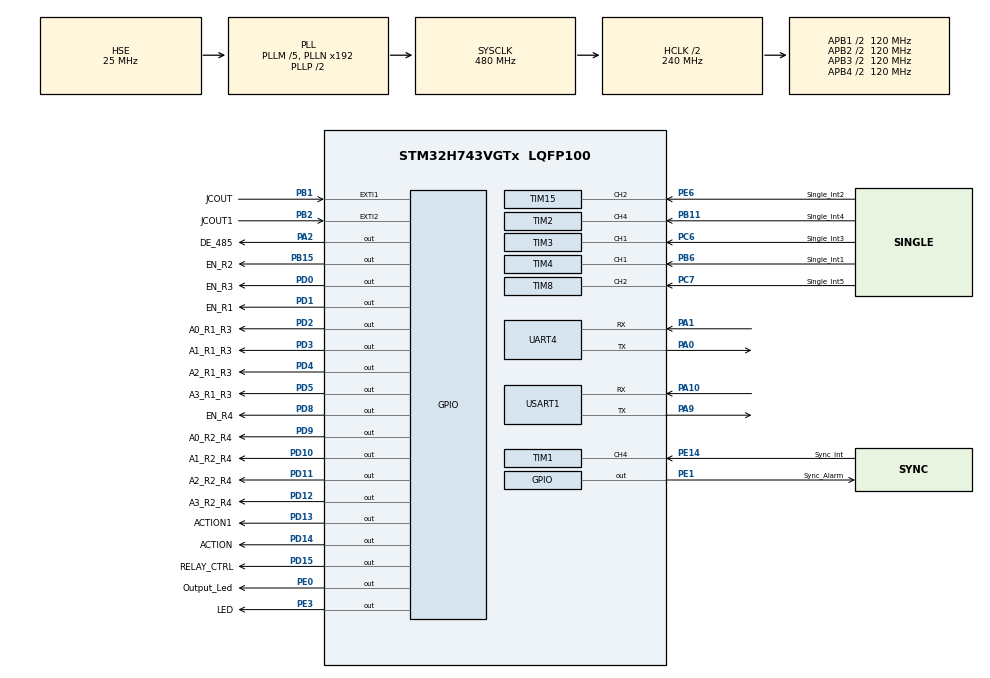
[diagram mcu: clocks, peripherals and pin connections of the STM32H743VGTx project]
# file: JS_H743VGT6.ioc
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CORTEX_M7.default_mode_Activation=1
FREERTOS.CountingSemaphores01=HolesCountingSem,16,Dynamic,NULL,0
FREERTOS.Events01=PositionEvent1_MPC1,Dynamic,NULL;PositionEvent2_MPC1,Dynamic,NULL;PositionEvent3_MPC1,Dynamic,NULL;PositionEvent4_MPC1,Dynamic,NULL;PositionEvent1_MPC2,Dynamic,NULL;PositionEvent2_MPC2,Dynamic,NULL;PositionEvent3_MPC2,Dynamic,NULL;PositionEvent4_MPC2,Dynamic,NULL
FREERTOS.Tasks01=SyncTask,24,128,StartSyncTask,Default,NULL,Dynamic,NULL,NULL;ICTask,25,128,StartICTask,Default,NULL,Dynamic,NULL,NULL;Rec_SwitchTask,25,128,StartRec_SwitchTask,Default,NULL,Dynamic,NULL,NULL;AlarmTask,26,128,StartAlarmTask,Default,NULL,Dynamic,NULL,NULL;Hole_ldentifica,27,128,StartHole_ldentificationTask,Default,NULL,Dynamic,NULL,NULL
Mcu.Family=STM32H7
Mcu.Name=STM32H743VGTx
Mcu.Package=LQFP100
NVIC.EXTI1_IRQn=true\:5\:0\:false\:false\:true\:true\:true\:true\:true
NVIC.EXTI2_IRQn=true\:5\:0\:false\:false\:true\:true\:true\:true\:true
NVIC.PriorityGroup=NVIC_PRIORITYGROUP_4
NVIC.TIM15_IRQn=true\:5\:0\:false\:false\:true\:true\:true\:true\:true
NVIC.TIM17_IRQn=true\:15\:0\:false\:false\:true\:false\:false\:true\:true
NVIC.TIM1_CC_IRQn=true\:5\:0\:false\:false\:true\:true\:true\:true\:true
NVIC.TIM1_UP_IRQn=true\:5\:0\:false\:false\:true\:true\:true\:true\:true
NVIC.TIM2_IRQn=true\:5\:0\:false\:false\:true\:true\:true\:true\:true
NVIC.TIM3_IRQn=true\:5\:0\:false\:false\:true\:true\:true\:true\:true
NVIC.TIM4_IRQn=true\:5\:0\:false\:false\:true\:true\:true\:true\:true
NVIC.TIM6_DAC_IRQn=true\:5\:0\:false\:false\:true\:true\:true\:true\:true
NVIC.TIM7_IRQn=true\:5\:0\:false\:false\:true\:true\:true\:true\:true
NVIC.TIM8_CC_IRQn=true\:5\:0\:false\:false\:true\:true\:true\:true\:true
NVIC.TIM8_UP_TIM13_IRQn=true\:5\:0\:false\:false\:true\:true\:true\:true\:true
NVIC.TimeBase=TIM17_IRQn
NVIC.TimeBaseIP=TIM17
NVIC.UART4_IRQn=true\:5\:0\:false\:false\:true\:true\:true\:true\:true
NVIC.USART1_IRQn=true\:5\:0\:false\:false\:true\:true\:true\:true\:true
PA0.Mode=Asynchronous
PA0.Signal=UART4_TX
PA1.Mode=Asynchronous
PA1.Signal=UART4_RX
PA10.Mode=Asynchronous
PA10.Signal=USART1_RX
PA13\ (JTMS/SWDIO).Mode=Serial_Wire
PA13\ (JTMS/SWDIO).Signal=DEBUG_JTMS-SWDIO
PA14\ (JTCK/SWCLK).Mode=Serial_Wire
PA14\ (JTCK/SWCLK).Signal=DEBUG_JTCK-SWCLK
PA2.GPIO_Label=DE_485
PA2.GPIO_Speed=GPIO_SPEED_FREQ_HIGH
PA2.Signal=GPIO_Output
PA9.Mode=Asynchronous
PA9.Signal=USART1_TX
PB1.GPIO_Label=JCOUT
PB1.Signal=GPXTI1
PB11.GPIO_Label=Single_Int4
PB11.GPIO_Speed=GPIO_SPEED_FREQ_HIGH
PB11.Signal=S_TIM2_CH4
PB15.GPIO_Label=EN_R2
PB15.GPIO_ModeDefaultOutputPP=GPIO_MODE_OUTPUT_OD
PB15.GPIO_PuPd=GPIO_NOPULL
PB15.GPIO_Speed=GPIO_SPEED_FREQ_HIGH
PB15.Signal=GPIO_Output
PB2.GPIO_Label=JCOUT1
PB2.Signal=GPXTI2
PB6.GPIO_Label=Single_Int1
PB6.GPIO_Speed=GPIO_SPEED_FREQ_HIGH
PB6.Signal=S_TIM4_CH1
PC6.GPIO_Label=Single_Int3
PC6.GPIO_Speed=GPIO_SPEED_FREQ_HIGH
PC6.Signal=S_TIM3_CH1
PC7.GPIO_Label=Single_Int5
PC7.GPIO_Speed=GPIO_SPEED_FREQ_HIGH
PC7.Signal=S_TIM8_CH2
PD0.GPIO_Label=EN_R3
PD0.GPIO_ModeDefaultOutputPP=GPIO_MODE_OUTPUT_OD
PD0.GPIO_PuPd=GPIO_NOPULL
PD0.GPIO_Speed=GPIO_SPEED_FREQ_HIGH
PD0.Signal=GPIO_Output
PD1.GPIO_Label=EN_R1
PD1.GPIO_ModeDefaultOutputPP=GPIO_MODE_OUTPUT_OD
PD1.GPIO_PuPd=GPIO_NOPULL
PD1.GPIO_Speed=GPIO_SPEED_FREQ_HIGH
PD1.PinState=GPIO_PIN_SET
PD1.Signal=GPIO_Output
PD10.GPIO_Label=A1_R2_R4
PD10.GPIO_ModeDefaultOutputPP=GPIO_MODE_OUTPUT_OD
PD10.GPIO_PuPd=GPIO_NOPULL
PD10.GPIO_Speed=GPIO_SPEED_FREQ_HIGH
PD10.PinState=GPIO_PIN_SET
PD10.Signal=GPIO_Output
PD11.GPIO_Label=A2_R2_R4
PD11.GPIO_ModeDefaultOutputPP=GPIO_MODE_OUTPUT_OD
PD11.GPIO_PuPd=GPIO_NOPULL
PD11.GPIO_Speed=GPIO_SPEED_FREQ_HIGH
PD11.PinState=GPIO_PIN_SET
PD11.Signal=GPIO_Output
PD12.GPIO_Label=A3_R2_R4
PD12.GPIO_ModeDefaultOutputPP=GPIO_MODE_OUTPUT_OD
PD12.GPIO_PuPd=GPIO_NOPULL
PD12.GPIO_Speed=GPIO_SPEED_FREQ_HIGH
PD12.PinState=GPIO_PIN_SET
PD12.Signal=GPIO_Output
PD13.GPIO_Label=ACTION1
PD13.GPIO_ModeDefaultOutputPP=GPIO_MODE_OUTPUT_OD
PD13.GPIO_PuPd=GPIO_NOPULL
PD13.GPIO_Speed=GPIO_SPEED_FREQ_HIGH
PD13.PinState=GPIO_PIN_SET
PD13.Signal=GPIO_Output
PD14.GPIO_Label=ACTION
PD14.GPIO_ModeDefaultOutputPP=GPIO_MODE_OUTPUT_OD
PD14.GPIO_PuPd=GPIO_NOPULL
PD14.GPIO_Speed=GPIO_SPEED_FREQ_HIGH
PD14.PinState=GPIO_PIN_SET
PD14.Signal=GPIO_Output
PD15.GPIO_Label=RELAY_CTRL
PD15.GPIO_ModeDefaultOutputPP=GPIO_MODE_OUTPUT_OD
PD15.GPIO_PuPd=GPIO_NOPULL
PD15.GPIO_Speed=GPIO_SPEED_FREQ_HIGH
PD15.PinState=GPIO_PIN_SET
PD15.Signal=GPIO_Output
PD2.GPIO_Label=A0_R1_R3
PD2.GPIO_ModeDefaultOutputPP=GPIO_MODE_OUTPUT_OD
PD2.GPIO_PuPd=GPIO_NOPULL
PD2.GPIO_Speed=GPIO_SPEED_FREQ_HIGH
PD2.PinState=GPIO_PIN_SET
PD2.Signal=GPIO_Output
PD3.GPIO_Label=A1_R1_R3
PD3.GPIO_ModeDefaultOutputPP=GPIO_MODE_OUTPUT_OD
PD3.GPIO_PuPd=GPIO_NOPULL
PD3.GPIO_Speed=GPIO_SPEED_FREQ_HIGH
PD3.PinState=GPIO_PIN_SET
PD3.Signal=GPIO_Output
PD4.GPIO_Label=A2_R1_R3
PD4.GPIO_ModeDefaultOutputPP=GPIO_MODE_OUTPUT_OD
PD4.GPIO_PuPd=GPIO_NOPULL
PD4.GPIO_Speed=GPIO_SPEED_FREQ_HIGH
PD4.PinState=GPIO_PIN_SET
PD4.Signal=GPIO_Output
PD5.GPIO_Label=A3_R1_R3
PD5.GPIO_ModeDefaultOutputPP=GPIO_MODE_OUTPUT_OD
PD5.GPIO_PuPd=GPIO_NOPULL
PD5.GPIO_Speed=GPIO_SPEED_FREQ_HIGH
PD5.PinState=GPIO_PIN_SET
PD5.Signal=GPIO_Output
PD8.GPIO_Label=EN_R4
PD8.GPIO_ModeDefaultOutputPP=GPIO_MODE_OUTPUT_OD
PD8.GPIO_PuPd=GPIO_NOPULL
PD8.GPIO_Speed=GPIO_SPEED_FREQ_HIGH
PD8.PinState=GPIO_PIN_SET
PD8.Signal=GPIO_Output
PD9.GPIO_Label=A0_R2_R4
PD9.GPIO_ModeDefaultOutputPP=GPIO_MODE_OUTPUT_OD
PD9.GPIO_PuPd=GPIO_NOPULL
PD9.GPIO_Speed=GPIO_SPEED_FREQ_HIGH
PD9.PinState=GPIO_PIN_SET
PD9.Signal=GPIO_Output
PE0.GPIO_Label=Output_Led
PE0.GPIO_ModeDefaultOutputPP=GPIO_MODE_OUTPUT_OD
PE0.GPIO_PuPd=GPIO_NOPULL
PE0.GPIO_Speed=GPIO_SPEED_FREQ_HIGH
PE0.PinState=GPIO_PIN_SET
PE0.Signal=GPIO_Output
PE1.GPIO_Label=Sync_Alarm
PE1.GPIO_ModeDefaultOutputPP=GPIO_MODE_OUTPUT_OD
PE1.GPIO_PuPd=GPIO_NOPULL
PE1.GPIO_Speed=GPIO_SPEED_FREQ_HIGH
PE1.PinState=GPIO_PIN_SET
PE1.Signal=GPIO_Output
PE14.GPIO_Label=Sync_Int
PE14.GPIO_Speed=GPIO_SPEED_FREQ_HIGH
PE14.Signal=S_TIM1_CH4
PE3.GPIO_Label=LED
PE3.GPIO_Speed=GPIO_SPEED_FREQ_HIGH
PE3.Signal=GPIO_Output
PE6.GPIO_Label=Single_Int2
PE6.GPIO_Speed=GPIO_SPEED_FREQ_HIGH
PE6.Signal=S_TIM15_CH2
PH0-OSC_IN\ (PH0).Mode=HSE-External-Oscillator
PH0-OSC_IN\ (PH0).Signal=RCC_OSC_IN
PH1-OSC_OUT\ (PH1).Mode=HSE-External-Oscillator
PH1-OSC_OUT\ (PH1).Signal=RCC_OSC_OUT
ProjectManager.HeapSize=0x200
ProjectManager.StackSize=0x400
ProjectManager.TargetToolchain=MDK-ARM V5.32
RCC.ADCFreq_Value=50390625
RCC.APB1Freq_Value=120000000
RCC.APB2Freq_Value=120000000
RCC.APB3Freq_Value=120000000
RCC.APB4Freq_Value=120000000
RCC.CortexFreq_Value=480000000
RCC.D1PPRE=RCC_APB3_DIV2
RCC.D2PPRE1=RCC_APB1_DIV2
RCC.D2PPRE2=RCC_APB2_DIV2
RCC.D3PPRE=RCC_APB4_DIV2
RCC.DIVM1=5
RCC.DIVN1=192
RCC.HCLKFreq_Value=240000000
RCC.HPRE=RCC_HCLK_DIV2
RCC.PLL2FRACN=0
RCC.PLL3FRACN=0
RCC.PLLFRACN=0
RCC.PLLSourceVirtual=RCC_PLLSOURCE_HSE
RCC.SYSCLKFreq_VALUE=480000000
RCC.SYSCLKSource=RCC_SYSCLKSOURCE_PLLCLK
RCC.USBFreq_Value=480000000
SH.S_TIM15_CH2.0=TIM15_CH2,Input_Capture2_from_TI2
SH.S_TIM1_CH4.0=TIM1_CH4,Input_Capture4_from_TI4
SH.S_TIM2_CH4.0=TIM2_CH4,Input_Capture4_from_TI4
SH.S_TIM3_CH1.0=TIM3_CH1,Input_Capture1_from_TI1
SH.S_TIM4_CH1.0=TIM4_CH1,Input_Capture1_from_TI1
SH.S_TIM8_CH2.0=TIM8_CH2,Input_Capture2_from_TI2
TIM1.AutoReloadPreload=TIM_AUTORELOAD_PRELOAD_ENABLE
TIM1.Channel-Input_Capture4_from_TI4=TIM_CHANNEL_4
TIM1.Period=50000-1
TIM1.Prescaler=240-1
TIM15.AutoReloadPreload=TIM_AUTORELOAD_PRELOAD_ENABLE
TIM15.Channel-Input_Capture2_from_TI2=TIM_CHANNEL_2
TIM15.ICPolarity_CH2=TIM_INPUTCHANNELPOLARITY_FALLING
TIM15.Period=50000-1
TIM15.Prescaler=240-1
TIM2.AutoReloadPreload=TIM_AUTORELOAD_PRELOAD_ENABLE
TIM2.Channel-Input_Capture4_from_TI4=TIM_CHANNEL_4
TIM2.Period=50000-1
TIM2.Prescaler=240-1
TIM3.AutoReloadPreload=TIM_AUTORELOAD_PRELOAD_ENABLE
TIM3.Channel-Input_Capture1_from_TI1=TIM_CHANNEL_1
TIM3.Period=50000-1
TIM3.Prescaler=240-1
TIM4.AutoReloadPreload=TIM_AUTORELOAD_PRELOAD_ENABLE
TIM4.Channel-Input_Capture1_from_TI1=TIM_CHANNEL_1
TIM4.Period=50000-1
TIM4.Prescaler=240-1
TIM6.AutoReloadPreload=TIM_AUTORELOAD_PRELOAD_ENABLE
TIM6.Period=10-1
TIM6.Prescaler=240-1
TIM7.AutoReloadPreload=TIM_AUTORELOAD_PRELOAD_ENABLE
TIM7.Period=500-1
TIM7.Prescaler=240-1
TIM8.AutoReloadPreload=TIM_AUTORELOAD_PRELOAD_ENABLE
TIM8.Channel-Input_Capture2_from_TI2=TIM_CHANNEL_2
TIM8.Period=50000-1
TIM8.Prescaler=240-1
USART1.VirtualMode-Asynchronous=VM_ASYNC
VP_FREERTOS_VS_CMSIS_V2.Mode=CMSIS_V2
VP_MEMORYMAP_VS_MEMORYMAP.Mode=CurAppReg
VP_SYS_VS_tim17.Mode=TIM17
VP_TIM15_VS_ClockSourceINT.Mode=Internal
VP_TIM2_VS_ClockSourceINT.Mode=Internal
VP_TIM3_VS_ClockSourceINT.Mode=Internal
VP_TIM4_VS_ClockSourceINT.Mode=Internal
VP_TIM6_VS_ClockSourceINT.Mode=Enable_Timer
VP_TIM7_VS_ClockSourceINT.Mode=Enable_Timer
VP_TIM8_VS_ClockSourceINT.Mode=Internal
board=custom

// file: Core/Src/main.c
/* USER CODE BEGIN Header */
/**
  ******************************************************************************
  * @file           : main.c
  * @brief          : Main program body
  ******************************************************************************
  * @attention
  *
  * Copyright (c) 2024 STMicroelectronics.
  * All rights reserved.
  *
  * This software is licensed under terms that can be found in the LICENSE file
  * in the root directory of this software component.
  * If no LICENSE file comes with this software, it is provided AS-IS.
  *
  ******************************************************************************
  */
/* USER CODE END Header */
#include "main.h"
#include "cmsis_os.h"
#include "memorymap.h"
#include "tim.h"
#include "usart.h"
#include "gpio.h"

void SystemClock_Config(void);
static void MPU_Config(void);
void MX_FREERTOS_Init(void);

int main(void)
{

  /* MPU Configuration--------------------------------------------------------*/
  MPU_Config();

  /* MCU Configuration--------------------------------------------------------*/

  /* Reset of all peripherals, Initializes the Flash interface and the Systick. */
  HAL_Init();

  /* Configure the system clock */
  SystemClock_Config();

  /* Initialize all configured peripherals */
  MX_GPIO_Init();
  MX_TIM2_Init();
  MX_TIM3_Init();
  MX_TIM4_Init();
  MX_TIM8_Init();
  MX_TIM15_Init();
  MX_TIM1_Init();
  MX_UART4_Init();
  MX_TIM6_Init();
  MX_USART1_UART_Init();
  MX_TIM7_Init();

  /* Init scheduler */
  osKernelInitialize();

  /* Call init function for freertos objects (in cmsis_os2.c) */
  MX_FREERTOS_Init();

  /* Start scheduler */
  osKernelStart();

  /* We should never get here as control is now taken by the scheduler */

  /* Infinite loop */
  while (1)
  {

  }
}

void SystemClock_Config(void)
{
  RCC_OscInitTypeDef RCC_OscInitStruct = {0};
  RCC_ClkInitTypeDef RCC_ClkInitStruct = {0};

  /** Supply configuration update enable
  */
  HAL_PWREx_ConfigSupply(PWR_LDO_SUPPLY);

  /** Configure the main internal regulator output voltage
  */
  __HAL_PWR_VOLTAGESCALING_CONFIG(PWR_REGULATOR_VOLTAGE_SCALE1);

  while(!__HAL_PWR_GET_FLAG(PWR_FLAG_VOSRDY)) {}

  __HAL_RCC_SYSCFG_CLK_ENABLE();
  __HAL_PWR_VOLTAGESCALING_CONFIG(PWR_REGULATOR_VOLTAGE_SCALE0);

  while(!__HAL_PWR_GET_FLAG(PWR_FLAG_VOSRDY)) {}

  /** Initializes the RCC Oscillators according to the specified parameters
  * in the RCC_OscInitTypeDef structure.
  */
  RCC_OscInitStruct.OscillatorType = RCC_OSCILLATORTYPE_HSE;
  RCC_OscInitStruct.HSEState = RCC_HSE_ON;
  RCC_OscInitStruct.PLL.PLLState = RCC_PLL_ON;
  RCC_OscInitStruct.PLL.PLLSource = RCC_PLLSOURCE_HSE;
  RCC_OscInitStruct.PLL.PLLM = 5;
  RCC_OscInitStruct.PLL.PLLN = 192;
  RCC_OscInitStruct.PLL.PLLP = 2;
  RCC_OscInitStruct.PLL.PLLQ = 2;
  RCC_OscInitStruct.PLL.PLLR = 2;
  RCC_OscInitStruct.PLL.PLLRGE = RCC_PLL1VCIRANGE_2;
  RCC_OscInitStruct.PLL.PLLVCOSEL = RCC_PLL1VCOWIDE;
  RCC_OscInitStruct.PLL.PLLFRACN = 0;
  if (HAL_RCC_OscConfig(&RCC_OscInitStruct) != HAL_OK)
  {
    Error_Handler();
  }

  /** Initializes the CPU, AHB and APB buses clocks
  */
  RCC_ClkInitStruct.ClockType = RCC_CLOCKTYPE_HCLK|RCC_CLOCKTYPE_SYSCLK
                              |RCC_CLOCKTYPE_PCLK1|RCC_CLOCKTYPE_PCLK2
                              |RCC_CLOCKTYPE_D3PCLK1|RCC_CLOCKTYPE_D1PCLK1;
  RCC_ClkInitStruct.SYSCLKSource = RCC_SYSCLKSOURCE_PLLCLK;
  RCC_ClkInitStruct.SYSCLKDivider = RCC_SYSCLK_DIV1;
  RCC_ClkInitStruct.AHBCLKDivider = RCC_HCLK_DIV2;
  RCC_ClkInitStruct.APB3CLKDivider = RCC_APB3_DIV2;
  RCC_ClkInitStruct.APB1CLKDivider = RCC_APB1_DIV2;
  RCC_ClkInitStruct.APB2CLKDivider = RCC_APB2_DIV2;
  RCC_ClkInitStruct.APB4CLKDivider = RCC_APB4_DIV2;

  if (HAL_RCC_ClockConfig(&RCC_ClkInitStruct, FLASH_LATENCY_4) != HAL_OK)
  {
    Error_Handler();
  }
}

 /* MPU Configuration */

void MPU_Config(void)
{
  MPU_Region_InitTypeDef MPU_InitStruct = {0};

  /* Disables the MPU */
  HAL_MPU_Disable();

  /** Initializes and configures the Region and the memory to be protected
  */
  MPU_InitStruct.Enable = MPU_REGION_ENABLE;
  MPU_InitStruct.Number = MPU_REGION_NUMBER0;
  MPU_InitStruct.BaseAddress = 0x0;
  MPU_InitStruct.Size = MPU_REGION_SIZE_4GB;
  MPU_InitStruct.SubRegionDisable = 0x87;
  MPU_InitStruct.TypeExtField = MPU_TEX_LEVEL0;
  MPU_InitStruct.AccessPermission = MPU_REGION_NO_ACCESS;
  MPU_InitStruct.DisableExec = MPU_INSTRUCTION_ACCESS_DISABLE;
  MPU_InitStruct.IsShareable = MPU_ACCESS_SHAREABLE;
  MPU_InitStruct.IsCacheable = MPU_ACCESS_NOT_CACHEABLE;
  MPU_InitStruct.IsBufferable = MPU_ACCESS_NOT_BUFFERABLE;

  HAL_MPU_ConfigRegion(&MPU_InitStruct);
  /* Enables the MPU */
  HAL_MPU_Enable(MPU_PRIVILEGED_DEFAULT);

}

void HAL_TIM_PeriodElapsedCallback(TIM_HandleTypeDef *htim)
{
  if (htim->Instance == TIM17) {
    HAL_IncTick();
  }
}

void Error_Handler(void)
{
  __disable_irq();
  while (1)
  {
  }
}

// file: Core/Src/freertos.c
/* USER CODE BEGIN Header */
/**
 ******************************************************************************
 * File Name          : freertos.c
 * Description        : Code for freertos applications
 ******************************************************************************
 * @attention
 *
 * Copyright (c) 2024 STMicroelectronics.
 * All rights reserved.
 *
 * This software is licensed under terms that can be found in the LICENSE file
 * in the root directory of this software component.
 * If no LICENSE file comes with this software, it is provided AS-IS.
 *
 ******************************************************************************
 */
/* USER CODE END Header */

#include "FreeRTOS.h"
#include "task.h"
#include "main.h"
#include "cmsis_os.h"

/* USER CODE BEGIN Includes */
#include "tim.h"
#include "gpio.h"
#include "limits.h"
#include "usart.h"
#include "stdio.h"
#include "semphr.h"
#include "portmacro.h"
#include "event_groups.h"

extern uint32_t Sync_capture_Buf[2]; // 存放计数值
extern uint8_t Sync_Cnt;             // 状态标志位
extern uint32_t Sync_high_time;      // 高电平时间

uint16_t semavalue = 0;

uint8_t Isfirstcirculation = 1;

#if 0
// 事件组
int32_t position1_old = 0;
int32_t position1_new = 0;
int32_t position1_xor = 0;
uint32_t position1_new_plus_old = 0;

int32_t position2_old = 0;
int32_t position2_new = 0;
int32_t position2_xor = 0;
uint32_t position2_new_plus_old = 0;

int32_t position3_old = 0;
int32_t position3_new = 0;
int32_t position3_xor = 0;
uint32_t position3_new_plus_old = 0;

int32_t position4_old = 0;
int32_t position4_new = 0;
int32_t position4_xor = 0;
uint32_t position4_new_plus_old = 0;
#endif
int32_t position_old[4] = {0};
int32_t position_xor[4] = {0};

/* USER CODE END Includes */

/* Definitions for SyncTask */
osThreadId_t SyncTaskHandle;
const osThreadAttr_t SyncTask_attributes = {
    .name = "SyncTask",
    .stack_size = 128 * 4,
    .priority = (osPriority_t)osPriorityNormal,
};
/* Definitions for ICTask */
osThreadId_t ICTaskHandle;
const osThreadAttr_t ICTask_attributes = {
    .name = "ICTask",
    .stack_size = 128 * 4,
    .priority = (osPriority_t)osPriorityNormal1,
};
/* Definitions for Rec_SwitchTask */
osThreadId_t Rec_SwitchTaskHandle;
const osThreadAttr_t Rec_SwitchTask_attributes = {
    .name = "Rec_SwitchTask",
    .stack_size = 128 * 4,
    .priority = (osPriority_t)osPriorityNormal1,
};
/* Definitions for AlarmTask */
osThreadId_t AlarmTaskHandle;
const osThreadAttr_t AlarmTask_attributes = {
    .name = "AlarmTask",
    .stack_size = 128 * 4,
    .priority = (osPriority_t)osPriorityNormal2,
};
/* Definitions for Hole_ldentifica */
osThreadId_t Hole_ldentificaHandle;
const osThreadAttr_t Hole_ldentifica_attributes = {
    .name = "Hole_ldentifica",
    .stack_size = 128 * 4,
    .priority = (osPriority_t)osPriorityNormal3,
};
/* Definitions for HolesCountingSem */
osSemaphoreId_t HolesCountingSemHandle;
const osSemaphoreAttr_t HolesCountingSem_attributes = {
    .name = "HolesCountingSem"};
/* Definitions for PositionEvent1_MPC1 */
osEventFlagsId_t PositionEvent1_MPC1Handle;
const osEventFlagsAttr_t PositionEvent1_MPC1_attributes = {
    .name = "PositionEvent1_MPC1"};
/* Definitions for PositionEvent2_MPC1 */
osEventFlagsId_t PositionEvent2_MPC1Handle;
const osEventFlagsAttr_t PositionEvent2_MPC1_attributes = {
    .name = "PositionEvent2_MPC1"};
/* Definitions for PositionEvent3_MPC1 */
osEventFlagsId_t PositionEvent3_MPC1Handle;
const osEventFlagsAttr_t PositionEvent3_MPC1_attributes = {
    .name = "PositionEvent3_MPC1"};
/* Definitions for PositionEvent4_MPC1 */
osEventFlagsId_t PositionEvent4_MPC1Handle;
const osEventFlagsAttr_t PositionEvent4_MPC1_attributes = {
    .name = "PositionEvent4_MPC1"};
/* Definitions for PositionEvent1_MPC2 */
osEventFlagsId_t PositionEvent1_MPC2Handle;
const osEventFlagsAttr_t PositionEvent1_MPC2_attributes = {
    .name = "PositionEvent1_MPC2"};
/* Definitions for PositionEvent2_MPC2 */
osEventFlagsId_t PositionEvent2_MPC2Handle;
const osEventFlagsAttr_t PositionEvent2_MPC2_attributes = {
    .name = "PositionEvent2_MPC2"};
/* Definitions for PositionEvent3_MPC2 */
osEventFlagsId_t PositionEvent3_MPC2Handle;
const osEventFlagsAttr_t PositionEvent3_MPC2_attributes = {
    .name = "PositionEvent3_MPC2"};
/* Definitions for PositionEvent4_MPC2 */
osEventFlagsId_t PositionEvent4_MPC2Handle;
const osEventFlagsAttr_t PositionEvent4_MPC2_attributes = {
    .name = "PositionEvent4_MPC2"};

void StartSyncTask(void *argument);
void StartICTask(void *argument);
void StartRec_SwitchTask(void *argument);
void StartAlarmTask(void *argument);
void StartHole_ldentificationTask(void *argument);

void MX_FREERTOS_Init(void); /* (MISRA C 2004 rule 8.1) */

void MX_FREERTOS_Init(void)
{

  /* Create the semaphores(s) */
  /* creation of HolesCountingSem */
  HolesCountingSemHandle = osSemaphoreNew(16, 0, &HolesCountingSem_attributes);

  /* Create the thread(s) */
  /* creation of SyncTask */
  SyncTaskHandle = osThreadNew(StartSyncTask, NULL, &SyncTask_attributes);

  /* creation of ICTask */
  ICTaskHandle = osThreadNew(StartICTask, NULL, &ICTask_attributes);

  /* creation of Rec_SwitchTask */
  Rec_SwitchTaskHandle = osThreadNew(StartRec_SwitchTask, NULL, &Rec_SwitchTask_attributes);

  /* creation of AlarmTask */
  AlarmTaskHandle = osThreadNew(StartAlarmTask, NULL, &AlarmTask_attributes);

  /* creation of Hole_ldentifica */
  Hole_ldentificaHandle = osThreadNew(StartHole_ldentificationTask, NULL, &Hole_ldentifica_attributes);

  /* Create the event(s) */
  /* creation of PositionEvent1_MPC1 */
  PositionEvent1_MPC1Handle = osEventFlagsNew(&PositionEvent1_MPC1_attributes);

  /* creation of PositionEvent2_MPC1 */
  PositionEvent2_MPC1Handle = osEventFlagsNew(&PositionEvent2_MPC1_attributes);

  /* creation of PositionEvent3_MPC1 */
  PositionEvent3_MPC1Handle = osEventFlagsNew(&PositionEvent3_MPC1_attributes);

  /* creation of PositionEvent4_MPC1 */
  PositionEvent4_MPC1Handle = osEventFlagsNew(&PositionEvent4_MPC1_attributes);

  /* creation of PositionEvent1_MPC2 */
  PositionEvent1_MPC2Handle = osEventFlagsNew(&PositionEvent1_MPC2_attributes);

  /* creation of PositionEvent2_MPC2 */
  PositionEvent2_MPC2Handle = osEventFlagsNew(&PositionEvent2_MPC2_attributes);

  /* creation of PositionEvent3_MPC2 */
  PositionEvent3_MPC2Handle = osEventFlagsNew(&PositionEvent3_MPC2_attributes);

  /* creation of PositionEvent4_MPC2 */
  PositionEvent4_MPC2Handle = osEventFlagsNew(&PositionEvent4_MPC2_attributes);

}

void StartSyncTask(void *argument)
{
  /* USER CODE BEGIN StartSyncTask */
  /* Infinite loop */
  for (;;)
  {
    switch (Sync_Cnt)
    {
    case 0:
      Sync_Cnt++;
      TIM_RESET_CAPTUREPOLARITY(&htim1, TIM_CHANNEL_4);
      __HAL_TIM_SET_CAPTUREPOLARITY(&htim1, TIM_CHANNEL_4, TIM_INPUTCHANNELPOLARITY_RISING);
      HAL_TIM_IC_Start_IT(&htim1, TIM_CHANNEL_4); // 启动输入捕获       或者: __HAL_TIM_ENABLE(&htim5);
      break;
    case 3:
      if (Sync_capture_Buf[1] < Sync_capture_Buf[0])
      {                                                                       // 不存在先捕获高电平后捕获低电平capture_Buf[1]<capture_Buf[0],肯定是有了溢出
        Sync_high_time = 0x186A0 + Sync_capture_Buf[1] - Sync_capture_Buf[0]; // 100000    0x186A0
      }
      else
      {
        Sync_high_time = Sync_capture_Buf[1] - Sync_capture_Buf[0]; // 高电平时间
      }

      Sync_Cnt = 0;
      if (Sync_high_time == 0x1B)
      {
        Sync_Cnt = 5;
#if 0
        xTaskNotify((TaskHandle_t)StartICTask, 0x01, eSetValueWithOverwrite);
        xTaskNotify((TaskHandle_t)StartRec_switchTask, 0x01, eSetValueWithOverwrite);
#endif
#if 1
        xTaskNotifyGive((TaskHandle_t)ICTaskHandle);
        xTaskNotifyGive((TaskHandle_t)Rec_SwitchTaskHandle);
#endif
      }
      else
      {
        Sync_Cnt = 0;
      }
    }
    osDelay(1);
  }
  /* USER CODE END StartSyncTask */
}

void StartICTask(void *argument)
{
  /* USER CODE BEGIN StartICTask */
  BaseType_t ret;
  uint32_t NotifyValue;
  /* Infinite loop */
  for (;;)
  {
#if 0

    ret = xTaskNotifyWait((uint32_t)0x00,
                          (uint32_t)ULONG_MAX,
                          (uint32_t *)&NotifyValue,
                          (TickType_t)portMAX_DELAY);
#endif

#if 1
    ret = ulTaskNotifyTake(pdFALSE, 0);
#endif
    if (ret == pdPASS)
    {
      // LXXX:按照所查资料提示，如果不行那就还是将同步引脚更改为其他引脚，TIM2作为主定时器通过事件触发从定时器同步捕获，硬件层面的同步捕获
      HAL_TIM_IC_Start_IT(&htim4, TIM_CHANNEL_1);
      HAL_TIM_IC_Start_IT(&htim15, TIM_CHANNEL_2);
      HAL_TIM_IC_Start_IT(&htim3, TIM_CHANNEL_1);
      HAL_TIM_IC_Start_IT(&htim2, TIM_CHANNEL_4);
    }
    else
    {
      printf("StartICTask任务通知获取失败\r\n");
    }
    osDelay(1);
  }
  /* USER CODE END StartICTask */
}

void StartRec_SwitchTask(void *argument)
{
  /* USER CODE BEGIN StartRec_SwitchTask */
  BaseType_t ret;
  uint32_t NotifyValue;
  /* Infinite loop */
  for (;;)
  {
#if 0

    ret = xTaskNotifyWait((uint32_t)0x00,
                          (uint32_t)ULONG_MAX,
                          (uint32_t *)&NotifyValue,
                          (TickType_t)portMAX_DELAY);
#endif
#if 1
    ret = ulTaskNotifyTake(pdFALSE, 0);
#endif
    if (ret == pdPASS)
    {
      EN_R1_R2_open();
      HAL_TIM_Base_Start_IT(&htim6); // start timer for R1_channel switch
    }
    else
    {
      printf("StartRec_switchTask任务通知获取失败\r\n");
    }
    osDelay(1);
  }
  /* USER CODE END StartRec_SwitchTask */
}

void StartAlarmTask(void *argument)
{
  /* USER CODE BEGIN StartAlarmTask */
  BaseType_t ret;
  /* Infinite loop */
  for (;;)
  {
#if 0
    BaseType_t xHigherPriorityTaskWoken;
    xSemaphoreTakeFromISR(HolesCountingSemHandle, &xHigherPriorityTaskWoken);
    semavalue = uxSemaphoreGetCount(HolesCountingSemHandle);
#endif
    ret = ulTaskNotifyTake(pdFALSE, 0);
    if (ret == pdPASS)
    {
      for (int j = 0; j < 4; j++)
      {
        for (int i = 0; i < 32; i++)
        {
          if (((position_xor[j] >> i) & 1) == 1)
          {
            semavalue++;
          }
        }
        if (semavalue > 0)
        {
          Holes_output_alarm_Open();
          HAL_Delay(500);
          Holes_output_alarm_Close();
        }
      }
    }
    osDelay(1);
  }
  /* USER CODE END StartAlarmTask */
}

void StartHole_ldentificationTask(void *argument)
{
  /* USER CODE BEGIN StartHole_ldentificationTask */
  BaseType_t ret;
  int32_t position_new[4] = {0};

  int32_t position_new_plus_old[4] = {0};
  EventGroupHandle_t eventHandles[] = {
      PositionEvent1_MPC1Handle, PositionEvent1_MPC2Handle,
      PositionEvent2_MPC1Handle, PositionEvent2_MPC2Handle,
      PositionEvent3_MPC1Handle, PositionEvent3_MPC2Handle,
      PositionEvent4_MPC1Handle, PositionEvent4_MPC2Handle};
  /* Infinite loop */
  for (;;)
  {
    ret = ulTaskNotifyTake(pdFALSE, 0);
    if (ret == pdPASS)

    {
#if 0
      if (Isfirstcirculation) // 上电第一次循环
      {
        position1_old = (osEventFlagsGet(PositionEvent1_MPC2Handle) & 0xFFFF); // 低16位
        position1_old |= (osEventFlagsGet(PositionEvent1_MPC1Handle) & 0xFFFF) << 16;
        position2_old = (osEventFlagsGet(PositionEvent2_MPC2Handle) & 0xFFFF); // 低16位
        position2_old |= (osEventFlagsGet(PositionEvent2_MPC1Handle) & 0xFFFF) << 16;
        position3_old = (osEventFlagsGet(PositionEvent3_MPC2Handle) & 0xFFFF); // 低16位
        position3_old |= (osEventFlagsGet(PositionEvent3_MPC1Handle) & 0xFFFF) << 16;
        position4_old = (osEventFlagsGet(PositionEvent4_MPC2Handle) & 0xFFFF); // 低16位
        position4_old |= (osEventFlagsGet(PositionEvent4_MPC1Handle) & 0xFFFF) << 16;

        Isfirstcirculation = 0;
      }
      else
      {

#if 0
#define GET_POSITION_NEW(POSITION_NEW, HANDLE1, HANDLE2)       \
  do                                                           \
  {                                                            \
    POSITION_NEW = (osEventFlagsGet(HANDLE2) & 0xFFFF);        \
    POSITION_NEW |= (osEventFlagsGet(HANDLE1) & 0xFFFF) << 16; \
  } while (0)

        GET_POSITION_NEW(position1_new, PositionEvent1_MPC1Handle, PositionEvent1_MPC2Handle);
        GET_POSITION_NEW(position2_new, PositionEvent2_MPC1Handle, PositionEvent2_MPC2Handle);
        GET_POSITION_NEW(position3_new, PositionEvent3_MPC1Handle, PositionEvent3_MPC2Handle);
        GET_POSITION_NEW(position4_new, PositionEvent4_MPC1Handle, PositionEvent4_MPC2Handle);

#endif
        position1_new = (osEventFlagsGet(PositionEvent1_MPC2Handle) & 0xFFFF); // 低16位
        position1_new |= (osEventFlagsGet(PositionEvent1_MPC1Handle) & 0xFFFF) << 16;
        position2_new = (osEventFlagsGet(PositionEvent2_MPC2Handle) & 0xFFFF); // 低16位
        position2_new |= (osEventFlagsGet(PositionEvent2_MPC1Handle) & 0xFFFF) << 16;
        position3_new = (osEventFlagsGet(PositionEvent3_MPC2Handle) & 0xFFFF); // 低16位
        position3_new |= (osEventFlagsGet(PositionEvent3_MPC1Handle) & 0xFFFF) << 16;
        position4_new = (osEventFlagsGet(PositionEvent4_MPC2Handle) & 0xFFFF); // 低16位
        position4_new |= (osEventFlagsGet(PositionEvent4_MPC1Handle) & 0xFFFF) << 16;

        // 计算异或以及差值
        position1_xor = position1_old ^ position1_new;
        position1_new_plus_old = position1_new - position1_old;

        position2_xor = position2_old ^ position2_new;
        position2_new_plus_old = position2_new - position2_old;

        position3_xor = position3_old ^ position3_new;
        position3_new_plus_old = position3_new - position3_old;

        position4_xor = position4_old ^ position4_new;
        position4_new_plus_old = position4_new - position4_old;

        if ((position1_xor != 0) && (position1_new_plus_old > 0) && (xTaskGetSchedulerState() != taskSCHEDULER_NOT_STARTED)) // 有差异且位置检测从无到有算孔，从有到无不考虑
        {
          xTaskNotifyGive(AlarmTaskHandle);
        }
        if ((position2_xor != 0) && (position2_new_plus_old > 0) && (xTaskGetSchedulerState() != taskSCHEDULER_NOT_STARTED))
        {
          xTaskNotifyGive(AlarmTaskHandle);
        }
        if ((position3_xor != 0) && (position3_new_plus_old > 0) && (xTaskGetSchedulerState() != taskSCHEDULER_NOT_STARTED))
        {
          xTaskNotifyGive(AlarmTaskHandle);
        }
        if ((position4_xor != 0) && (position4_new_plus_old > 0) && (xTaskGetSchedulerState() != taskSCHEDULER_NOT_STARTED))
        {
          xTaskNotifyGive(AlarmTaskHandle);
        }
        position1_old = position1_new;
        position2_old = position2_new;
        position3_old = position3_new;
        position4_old = position4_new;

        // 循环结束，清除所有标志位，以便新的一轮置位
      }
      for (int i = 0; i < sizeof(eventHandles) / sizeof(eventHandles[0]); i++)
      {
        xEventGroupClearBits(eventHandles[i], 0xFFFF);
      }
    }
#endif
      if (Isfirstcirculation) // 上电第一次循环
      {
        for (int i = 0; i < 4; i++)
        {
          position_old[i] = (osEventFlagsGet(eventHandles[i * 2 + 1]) & 0xFFFF);
          position_old[i] |= (osEventFlagsGet(eventHandles[i * 2]) & 0xFFFF) << 16;
        }
        Isfirstcirculation = 0;
      }
      else
      {
        // 更新position_new并计算
        for (int i = 0; i < 4; i++)
        {
          // 获取新值
          position_new[i] = (osEventFlagsGet(eventHandles[i * 2 + 1]) & 0xFFFF);
          position_new[i] |= (osEventFlagsGet(eventHandles[i * 2]) & 0xFFFF) << 16;

          // 计算异或和差值
          position_xor[i] = position_old[i] ^ position_new[i];
          position_new_plus_old[i] = position_new[i] - position_old[i];

          // 条件检查和通知
          if (position_xor[i] != 0 && position_new_plus_old[i] > 0 && xTaskGetSchedulerState() != taskSCHEDULER_NOT_STARTED)
          {
            xTaskNotifyGive(AlarmTaskHandle);
          }

          // 更新old值
          position_old[i] = position_new[i];
        }

        // 清除所有标志位，以便新的一轮置位
        for (int i = 0; i < 8; i++)
        {
          xEventGroupClearBits(eventHandles[i], 0xFFFF);
        }
      }
    }
    osDelay(1);
  }
  /* USER CODE END StartHole_ldentificationTask */
}

/* USER CODE BEGIN Application */
#if 0
void StartHole_IdentificationTask(void *argument)
{
    /* USER CODE BEGIN StartHole_IdentificationTask */
    BaseType_t ret;

    // 定义事件句柄和位置变量的数组
    EventGroupHandle_t eventHandlesMPC1[] = {
        PositionEvent1_MPC1Handle, PositionEvent2_MPC1Handle,
        PositionEvent3_MPC1Handle, PositionEvent4_MPC1Handle
    };
    EventGroupHandle_t eventHandlesMPC2[] = {
        PositionEvent1_MPC2Handle, PositionEvent2_MPC2Handle,
        PositionEvent3_MPC2Handle, PositionEvent4_MPC2Handle
    };

    uint32_t *positions_old[] = {&position1_old, &position2_old, &position3_old, &position4_old};
    uint32_t *positions_new[] = {&position1_new, &position2_new, &position3_new, &position4_new};
    uint32_t *positions_xor[] = {&position1_xor, &position2_xor, &position3_xor, &position4_xor};
    int32_t *positions_diff[] = {&position1_new_plus_old, &position2_new_plus_old, &position3_new_plus_old, &position4_new_plus_old};

    /* Infinite loop */
    for (;;)
    {
        ret = ulTaskNotifyTake(pdFALSE, 0);
        if (ret == pdPASS)
        {
            if (Isfirstcirculation) // 上电第一次循环
            {
                for (int i = 0; i < 4; i++)
                {
                    *positions_old[i]  = (osEventFlagsGet(eventHandlesMPC2[i]) & 0xFFFF);
                    *positions_old[i] |= (osEventFlagsGet(eventHandlesMPC1[i]) & 0xFFFF) << 16;
                }
                Isfirstcirculation = 0;
            }
            else
            {
                for (int i = 0; i < 4; i++)
                {
                    *positions_new[i]  = (osEventFlagsGet(eventHandlesMPC2[i]) & 0xFFFF);
                    *positions_new[i] |= (osEventFlagsGet(eventHandlesMPC1[i]) & 0xFFFF) << 16;

                    // 计算异或以及差值
                    *positions_xor[i] = *positions_old[i] ^ *positions_new[i];
                    *positions_diff[i] = *positions_new[i] - *positions_old[i];

                    if ((*positions_xor[i] != 0) && (*positions_diff[i] > 0) && (xTaskGetSchedulerState() != taskSCHEDULER_NOT_STARTED))
                    {
                        xTaskNotifyGive(AlarmTaskHandle);
                    }

                    // 更新旧值
                    *positions_old[i] = *positions_new[i];
                }
            }

            // 清除所有标志位，以便新的一轮置位
            for (int i = 0; i < 4; i++)
            {
                xEventGroupClearBits(eventHandlesMPC1[i], 0xFFFF);
                xEventGroupClearBits(eventHandlesMPC2[i], 0xFFFF);
            }
        }

        osDelay(1);
    }
    /* USER CODE END StartHole_IdentificationTask */
}
#endif
/* USER CODE END Application */
